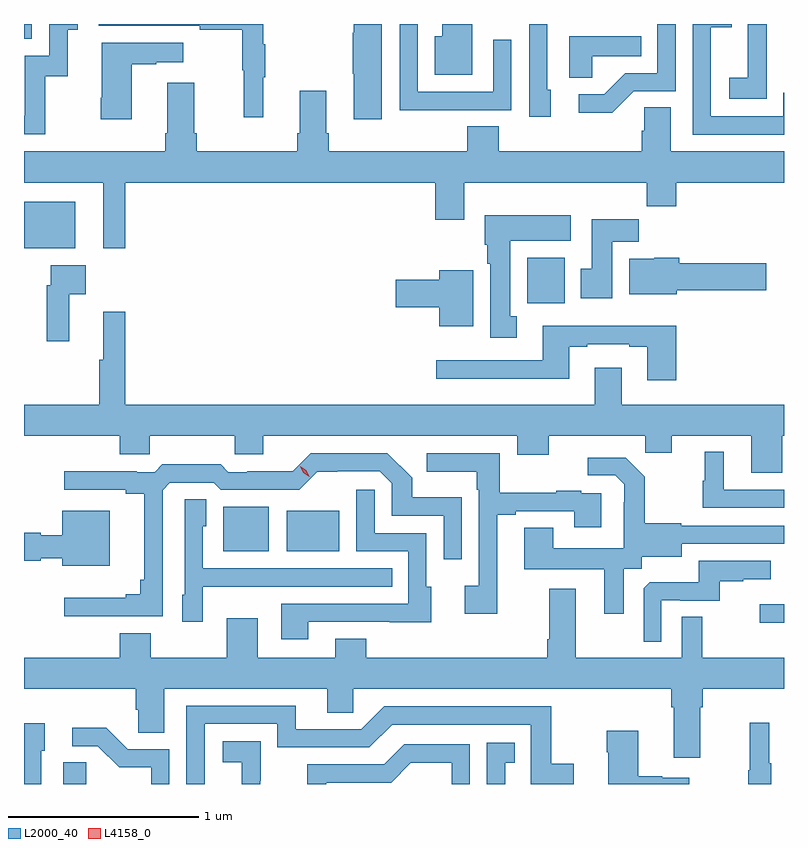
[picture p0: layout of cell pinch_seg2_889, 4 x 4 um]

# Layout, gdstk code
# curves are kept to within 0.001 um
import gdstk
lib = gdstk.Library(unit=1e-6, precision=1e-09)
def R(c, l, rs):  # rectangles x0, y0, x1, y1
    for r in rs: c.add(gdstk.rectangle(r[:2], r[2:], *l))
def P(c, l, *ps):  # polygons
    for p in ps: c.add(gdstk.Polygon(p, *l))
L2000_40 = (2000, 40)
L4158_0 = (4158, 0)

pinch_seg2_889 = lib.new_cell('pinch_seg2_889')
R(pinch_seg2_889, L2000_40, [(448.19,659.123,448.311,659.237), (451.857,659.972,451.984,660.07), (449.033,660.347,449.272,660.583), (449.366,660.347,449.644,660.562), (450.632,661.652,450.829,661.894), (447.984,661.943,448.255,662.188), (447.984,663.045,448.026,663.123)])
P(pinch_seg2_889, L2000_40, [(450.757,662.778),(450.738,662.778),(450.738,663.123),(450.642,663.123),(450.642,662.634),(450.757,662.634)],
  [(451.984,662.76),(451.98,662.76),(451.98,662.637),(451.599,662.637),(451.599,663.106),(451.709,663.106),(451.709,663.123),(451.503,663.123),(451.503,662.541),(451.984,662.541)],
  [(451.893,662.935),(451.892,662.935),(451.892,663.123),(451.794,663.123),(451.794,663.068),(451.793,663.068),(451.793,662.839),(451.695,662.839),(451.695,662.729),(451.893,662.729)],
  [(449.866,663.123),(449.72,663.123),(449.72,663.077),(449.713,663.077),(449.713,662.86),(449.72,662.86),(449.72,662.622),(449.866,662.622)],
  [(448.096,662.847),(448.214,662.847),(448.214,663.093),(448.267,663.093),(448.267,663.123),(448.116,663.123),(448.116,662.955),(447.987,662.955),(447.987,662.64),(447.984,662.64),(447.984,662.544),(448.096,662.544)],
  [(451.194,662.769),(451.413,662.769),(451.413,663.123),(451.317,663.123),(451.317,662.865),(451.148,662.865),(451.037,662.754),(450.903,662.754),(450.903,662.657),(451.081,662.657)],
  [(449.243,662.843),(449.254,662.843),(449.254,663.017),(449.243,663.017),(449.243,663.123),(448.377,663.123),(448.377,663.114),(448.909,663.114),(448.909,663.094),(449.133,663.094),(449.133,662.88),(449.14,662.88),(449.14,662.631),(449.243,662.631)],
  [(450.233,662.67),(450.549,662.67),(450.549,663.04),(450.453,663.04),(450.453,662.766),(450.057,662.766),(450.057,663.123),(449.961,663.123),(449.961,662.669),(450.233,662.669)],
  [(450.343,663.123),(450.185,663.123),(450.185,663.058),(450.146,663.058),(450.146,662.855),(450.343,662.855)],
  [(450.975,662.954),(451.232,662.954),(451.232,663.058),(450.854,663.058),(450.854,662.839),(450.975,662.839)],
  [(448.552,662.911),(448.679,662.911),(448.679,662.921),(448.822,662.921),(448.822,663.025),(448.394,663.025),(448.394,662.734),(448.387,662.734),(448.387,662.622),(448.552,662.622)],
  [(449.588,662.548),(449.575,662.548),(449.575,662.773),(449.435,662.773),(449.435,662.548),(449.423,662.548),(449.423,662.452),(448.892,662.452),(448.892,662.548),(448.879,662.548),(448.879,662.815),(448.739,662.815),(448.739,662.548),(448.727,662.548),(448.727,662.452),(447.984,662.452),(447.984,662.288),(448.4,662.288),(448.4,661.944),(448.517,661.944),(448.517,662.288),(450.149,662.288),(450.149,662.094),(450.301,662.094),(450.301,662.288),(451.261,662.288),(451.261,662.164),(451.418,662.164),(451.418,662.288),(451.984,662.288),(451.984,662.452),(451.387,662.452),(451.387,662.684),(451.248,662.684),(451.248,662.561),(451.235,662.561),(451.235,662.452),(450.482,662.452),(450.482,662.585),(450.317,662.585),(450.317,662.452),(449.588,662.452)],
  [(450.577,661.586),(450.544,661.586),(450.544,661.982),(450.862,661.982),(450.862,662.116),(450.41,662.116),(450.41,661.962),(450.422,661.962),(450.422,661.862),(450.437,661.862),(450.437,661.473),(450.577,661.473)],
  [(451.081,661.976),(451.22,661.976),(451.22,662.095),(450.971,662.095),(450.971,661.836),(450.914,661.836),(450.914,661.68),(451.081,661.68)],
  [(451.42,661.721),(451.891,661.721),(451.891,661.863),(451.433,661.863),(451.433,661.894),(451.302,661.894),(451.302,661.888),(451.169,661.888),(451.169,661.7),(451.42,661.7)],
  [(448.223,661.7),(448.309,661.7),(448.309,661.852),(448.125,661.852),(448.125,661.748),(448.105,661.748),(448.105,661.452),(448.223,661.452)],
  [(450.349,661.828),(450.17,661.828),(450.17,661.778),(449.94,661.778),(449.94,661.631),(450.17,661.631),(450.17,661.532),(450.349,661.532)],
  [(451.975,660.956),(451.984,660.956),(451.984,661.12),(451.129,661.12),(451.129,661.315),(450.989,661.315),(450.989,661.12),(448.517,661.12),(448.517,661.609),(448.4,661.609),(448.4,661.356),(448.381,661.356),(448.381,661.12),(447.984,661.12),(447.984,660.956),(448.487,660.956),(448.487,660.858),(448.647,660.858),(448.647,660.956),(449.092,660.956),(449.092,660.858),(449.242,660.858),(449.242,660.956),(450.581,660.956),(450.581,660.857),(450.745,660.857),(450.745,660.956),(451.255,660.956),(451.255,660.866),(451.393,660.866),(451.393,660.956),(451.811,660.956),(451.811,660.762),(451.975,660.762)],
  [(451.418,661.534),(450.713,661.534),(450.713,661.353),(450.153,661.353),(450.153,661.256),(450.853,661.256),(450.853,661.425),(450.949,661.425),(450.949,661.437),(451.169,661.437),(451.169,661.425),(451.265,661.425),(451.265,661.248),(451.418,661.248)],
  [(451.984,660.672),(451.666,660.672),(451.666,660.871),(451.568,660.871),(451.568,660.72),(451.557,660.72),(451.557,660.576),(451.984,660.576)],
  [(450.475,660.54),(450.571,660.54),(450.571,660.558),(450.881,660.558),(450.881,660.474),(451.021,660.474),(451.021,660.654),(450.917,660.654),(450.917,660.667),(450.785,660.667),(450.785,660.656),(450.487,660.656),(450.487,660.864),(450.105,660.864),(450.105,660.767),(450.366,660.767),(450.366,660.671),(450.378,660.671),(450.378,660.166),(450.303,660.166),(450.303,660.018),(450.475,660.018)],
  [(448.713,660.669),(448.752,660.708),(448.983,660.708),(449.019,660.672),(449.433,660.672),(449.528,660.767),(449.856,660.768),(449.919,660.705),(449.919,660.534),(450.192,660.534),(450.192,660.306),(450.288,660.306),(450.288,660.631),(450.027,660.631),(450.027,660.734),(449.896,660.864),(449.493,660.864),(449.399,660.77),(449.158,660.77),(449.158,660.765),(449.058,660.765),(449.019,660.805),(448.711,660.805),(448.671,660.765),(448.577,660.765),(448.577,660.77),(448.197,660.77),(448.197,660.672),(448.52,660.672),(448.52,660.65),(448.616,660.65),(448.616,660.199),(448.597,660.199),(448.597,660.122),(448.52,660.122),(448.52,660.103),(448.197,660.103),(448.197,660.006),(448.713,660.006)],
  [(451.141,660.256),(451.236,660.256),(451.236,660.32),(451.447,660.32),(451.447,660.387),(451.984,660.387),(451.984,660.483),(451.443,660.483),(451.443,660.496),(451.251,660.496),(451.251,660.741),(451.151,660.841),(450.951,660.841),(450.951,660.747),(451.095,660.747),(451.142,660.7),(451.142,660.605),(451.14,660.605),(451.14,660.364),(450.769,660.364),(450.769,660.473),(450.617,660.473),(450.617,660.254),(451.037,660.254),(451.037,660.018),(451.141,660.018)],
  [(449.479,659.976),(449.909,659.976),(449.909,659.975),(450.127,659.975),(450.127,660.162),(450.102,660.162),(450.102,660.444),(449.829,660.444),(449.829,660.673),(449.733,660.673),(449.733,660.348),(450.006,660.348),(450.006,660.072),(449.339,660.072),(449.339,659.886),(449.479,659.886)],
  [(448.926,660.161),(449.243,660.161),(449.243,660.162),(449.921,660.162),(449.921,660.258),(448.926,660.258),(448.926,660.48),(448.942,660.48),(448.942,660.623),(448.83,660.623),(448.83,660.12),(448.817,660.12),(448.817,659.976),(448.926,659.976)],
  [(448.435,660.562),(448.184,660.562),(448.184,660.433),(448.071,660.433),(448.071,660.446),(447.984,660.446),(447.984,660.299),(448.071,660.299),(448.071,660.311),(448.184,660.311),(448.184,660.272),(448.435,660.272)],
  [(451.338,660.09),(451.438,660.09),(451.438,660.087),(451.646,660.087),(451.646,660.189),(451.769,660.189),(451.769,660.2),(451.913,660.2),(451.913,660.297),(451.536,660.297),(451.536,660.185),(451.277,660.185),(451.245,660.153),(451.245,659.873),(451.338,659.873)],
  [(451.543,659.528),(451.556,659.528),(451.556,659.624),(451.984,659.624),(451.984,659.788),(451.555,659.788),(451.555,660.002),(451.446,660.002),(451.446,659.788),(450.889,659.788),(450.889,660.151),(450.749,660.151),(450.749,659.884),(450.737,659.884),(450.737,659.788),(449.785,659.788),(449.785,659.887),(449.621,659.887),(449.621,659.788),(449.215,659.788),(449.215,659.995),(449.051,659.995),(449.051,659.788),(448.651,659.788),(448.651,659.917),(448.487,659.917),(448.487,659.788),(447.984,659.788),(447.984,659.624),(448.571,659.624),(448.571,659.515),(448.584,659.515),(448.584,659.392),(448.723,659.392),(448.723,659.624),(449.579,659.624),(449.579,659.497),(449.718,659.497),(449.718,659.624),(451.391,659.624),(451.391,659.528),(451.403,659.528),(451.403,659.262),(451.543,659.262)],
  [(448.935,659.439),(449.316,659.439),(449.316,659.316),(449.802,659.316),(449.922,659.436),(450.651,659.436),(450.651,659.123),(450.878,659.123),(450.878,659.23),(450.76,659.23),(450.76,659.532),(449.88,659.532),(449.76,659.412),(449.413,659.412),(449.413,659.535),(448.839,659.535),(448.839,659.123),(448.935,659.123)],
  [(451.918,659.233),(451.907,659.233),(451.907,659.446),(451.804,659.446),(451.804,659.196),(451.797,659.196),(451.797,659.123),(451.918,659.123)],
  [(448.074,659.298),(448.093,659.298),(448.093,659.443),(447.984,659.443),(447.984,659.123),(448.074,659.123)],
  [(448.749,659.307),(448.53,659.307),(448.417,659.42),(448.239,659.42),(448.239,659.322),(448.373,659.322),(448.484,659.211),(448.653,659.211),(448.653,659.123),(448.749,659.123)],
  [(451.486,659.155),(451.343,659.155),(451.343,659.165),(451.216,659.165),(451.216,659.404),(451.051,659.404),(451.051,659.291),(451.058,659.291),(451.058,659.123),(451.486,659.123)],
  [(449.228,659.141),(449.229,659.141),(449.229,659.347),(449.031,659.347),(449.031,659.237),(449.129,659.237),(449.129,659.123),(449.228,659.123)],
  [(450.517,659.235),(450.566,659.235),(450.566,659.341),(450.42,659.341),(450.42,659.123),(450.517,659.123)],
  [(449.574,659.13),(449.916,659.13),(450.02,659.234),(450.234,659.234),(450.234,659.123),(450.33,659.123),(450.33,659.331),(449.984,659.331),(449.879,659.226),(449.476,659.226),(449.476,659.123),(449.574,659.123)])
P(pinch_seg2_889, L4158_0, [(449.485,660.74),(449.454,660.762),(449.438,660.796),(449.438,660.796),(449.439,660.796),(449.469,660.775),(449.485,660.741),(449.485,660.74)])

lib.write_gds('pinch_seg2_889.gds')
